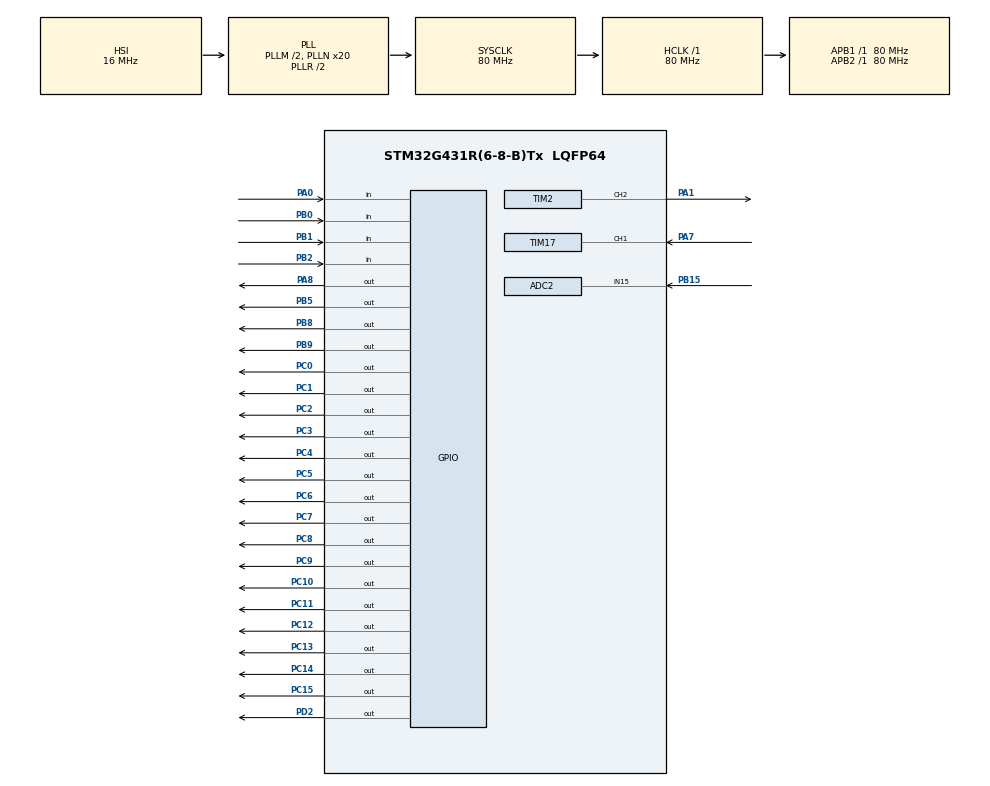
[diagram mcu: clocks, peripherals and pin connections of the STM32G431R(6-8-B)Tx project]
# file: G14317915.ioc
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ADC2.Channel-0\#ChannelRegularConversion=ADC_CHANNEL_15
ADC2.NbrOfConversionFlag=1
ADC2.OffsetNumber-0\#ChannelRegularConversion=ADC_OFFSET_NONE
ADC2.Rank-0\#ChannelRegularConversion=1
ADC2.SamplingTime-0\#ChannelRegularConversion=ADC_SAMPLETIME_640CYCLES_5
Mcu.Family=STM32G4
Mcu.Name=STM32G431R(6-8-B)Tx
Mcu.Package=LQFP64
NVIC.PriorityGroup=NVIC_PRIORITYGROUP_4
NVIC.TIM1_TRG_COM_TIM17_IRQn=true\:0\:0\:false\:false\:true\:true\:true
PA0.Signal=GPIO_Input
PA1.Signal=S_TIM2_CH2
PA7.Signal=S_TIM17_CH1
PA8.Signal=GPIO_Output
PB0.Signal=GPIO_Input
PB1.Signal=GPIO_Input
PB15.Mode=IN15-Single-Ended
PB15.Signal=ADC2_IN15
PB2.Signal=GPIO_Input
PB5.Signal=GPIO_Output
PB8-BOOT0.Signal=GPIO_Output
PB9.Signal=GPIO_Output
PC0.Signal=GPIO_Output
PC1.Signal=GPIO_Output
PC10.Signal=GPIO_Output
PC11.Signal=GPIO_Output
PC12.Signal=GPIO_Output
PC13.Signal=GPIO_Output
PC14-OSC32_IN.Signal=GPIO_Output
PC15-OSC32_OUT.Signal=GPIO_Output
PC2.Signal=GPIO_Output
PC3.Signal=GPIO_Output
PC4.Signal=GPIO_Output
PC5.Signal=GPIO_Output
PC6.Signal=GPIO_Output
PC7.Signal=GPIO_Output
PC8.Signal=GPIO_Output
PC9.Signal=GPIO_Output
PD2.Signal=GPIO_Output
PF0-OSC_IN.Mode=HSE-External-Oscillator
PF0-OSC_IN.Signal=RCC_OSC_IN
PF1-OSC_OUT.Mode=HSE-External-Oscillator
PF1-OSC_OUT.Signal=RCC_OSC_OUT
ProjectManager.HeapSize=0x200
ProjectManager.StackSize=0x400
ProjectManager.TargetToolchain=MDK-ARM V5
RCC.ADC12Freq_Value=80000000
RCC.AHBFreq_Value=80000000
RCC.APB1Freq_Value=80000000
RCC.APB1TimFreq_Value=80000000
RCC.APB2Freq_Value=80000000
RCC.APB2TimFreq_Value=80000000
RCC.CortexFreq_Value=80000000
RCC.EXTERNAL_CLOCK_VALUE=12288000
RCC.HCLKFreq_Value=80000000
RCC.HSE_VALUE=24000000
RCC.HSI48_VALUE=48000000
RCC.HSI_VALUE=16000000
RCC.LSE_VALUE=32768
RCC.PLLM=RCC_PLLM_DIV2
RCC.PLLN=20
RCC.SYSCLKFreq_VALUE=80000000
RCC.SYSCLKSource=RCC_SYSCLKSOURCE_PLLCLK
RCC.USBFreq_Value=80000000
RCC.VCOOutputFreq_Value=160000000
SH.S_TIM17_CH1.0=TIM17_CH1,Input_Capture1_from_TI1
SH.S_TIM2_CH2.0=TIM2_CH2,PWM Generation2 CH2
TIM17.Channel=TIM_CHANNEL_1
TIM17.PeriodNoDither=0xffff
TIM17.Prescaler=79
TIM2.AutoReloadPreload=TIM_AUTORELOAD_PRELOAD_ENABLE
TIM2.Channel-PWM\ Generation2\ CH2=TIM_CHANNEL_2
TIM2.PeriodNoDither=999
TIM2.Prescaler=79
TIM2.PulseNoDither_2=100
VP_SYS_VS_DBSignals.Mode=DisableDeadBatterySignals
VP_TIM17_VS_ClockSourceINT.Mode=Enable_Timer
board=custom

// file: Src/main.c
/* USER CODE BEGIN Header */
/**
  ******************************************************************************
  * @file           : main.c
  * @brief          : Main program body
  ******************************************************************************
  * @attention
  *
  * <h2><center>&copy; Copyright (c) 2021 STMicroelectronics.
  * All rights reserved.</center></h2>
  *
  * This software component is licensed by ST under BSD 3-Clause license,
  * the "License"; You may not use this file except in compliance with the
  * License. You may obtain a copy of the License at:
  *                        opensource.org/licenses/BSD-3-Clause
  *
  ******************************************************************************
  */
/* USER CODE END Header */

#include "main.h"
#include "adc.h"
#include "tim.h"
#include "gpio.h"

/* USER CODE BEGIN Includes */
#include "lcd.h"
#include "led.h"
#include "key.h"
#include "stdio.h"
#include "math.h"
/* USER CODE END Includes */

void SystemClock_Config(void);

/* USER CODE BEGIN 0 */
#define Display_DATA 0
#define Display_PARA 1
#define Display_RECD 2

u8 Display_Mode = 0;
//1
u8 M_set = 0;//0为低频
u32 f_low = 4000,f_high = 8000;
u32 f_set = 4000;
u32 Pwm_cnt = 0;
float PA1_Dset = 10.0;
//2
u8 R_Set = 1,K_Set = 1;//退出界面有效
u8 R_Real = 1,K_Real = 1;
u8 RK_Chose = 0;
float v_temp = 0.0;
float v_wait = 0.0;
u8 v_flag = 0;
//3
float v_high = 0;
float v_low = 0;
u32 v_cnt = 0;
u32 N_Cnt = 0;
//Cont_Key
u8 D_Clk = 0;
u8 Cont_Flag = 0;

//KEY
uint32_t keyTick = 0;
extern u32 Key_Cnt;
void Key_Process(void)
{
	if(uwTick - keyTick <20) return;
	keyTick = uwTick;
	Key_Read();

	if(Trg & 0x01)
	{
		LCD_Clear(Black);
		Display_Mode = (Display_Mode +1)%3;

		if(Display_Mode == Display_PARA )
		{
			R_Real = R_Set;
			K_Real = K_Set;
		}

		RK_Chose = 0;
	}
	if(Trg & 0x02)
	{
		if(Display_Mode == Display_DATA )
		{
			Pwm_cnt = 0;
			N_Cnt++;
			if(f_set == 4000||f_set == 8000)
			M_set =(M_set +1)%2;
		}
		if(Display_Mode == Display_PARA )
		{
			RK_Chose = (RK_Chose +1)%2;
		}
	}
	if(Trg & 0x04)
	{

		if(Display_Mode == Display_PARA )
		{
			if(RK_Chose == 0)
			{
				R_Set++;
				if(R_Set == 11)
					R_Set = 1;
			}
			if(RK_Chose == 1)
			{
				K_Set++;
			  if(K_Set == 11)
					K_Set = 1;
			}
		}
	}
	if(Trg & 0x08)
	{
		if(D_Clk == 1)
		{
			D_Clk = 0;
			Key_Cnt = 0;
		}

		if(Display_Mode == Display_PARA )
		{
			if(RK_Chose == 0)
			{
				R_Set--;
				if(R_Set == 0)
					R_Set = 10;
			}
			if(RK_Chose == 1)
			{
				K_Set--;
			  if(K_Set == 0)
					K_Set = 10;
			}
		}

	}

	if(Cont & 0x08)
	{
		if(Display_Mode == Display_DATA)
			Cont_Flag = 1;
	}

}

//ADC
u32 adc2_val;
float r37_volt;
void ADC_Process(void)
{
	//R37
	HAL_ADC_Start(&hadc2);
	adc2_val = HAL_ADC_GetValue(&hadc2);
	r37_volt = adc2_val /4095.0f*3.3f;

	if(D_Clk == 0)
	{
			if(r37_volt <1)
		{
			PA1_Dset = 10.0;
		}else if(r37_volt >3)
		{
			PA1_Dset = 85.0;
		}
		else
		{
			PA1_Dset  = 37.5f*r37_volt -27.5f;
		}
	}

}

//PWM_OUT
void PWM_Process(void)
{

	TIM2 ->ARR = (1e6*1.0/f_set-1);

	TIM2 ->CCR2 = (TIM2->ARR +1)*PA1_Dset/100.0f;
}

//PWM_IC

u8 tim17_state = 0;
u32 tim17_cnt,tim17_cntu;
u32 f_PA7;
float d_PA7;

void HAL_TIM_IC_CaptureCallback(TIM_HandleTypeDef *htim)
{
	if(htim == &htim17)
	{
		if(tim17_state == 0)
		{
			__HAL_TIM_SetCounter (&htim17,0);
			TIM17 ->CCER |=0x02;
			tim17_state = 1;
		}
		else if(tim17_state == 1)
		{
			tim17_cntu = __HAL_TIM_GetCounter (&htim17);
			TIM17->CCER &=~0x02;
			tim17_state = 2;
		}
		else if(tim17_state == 2)
		{
			tim17_cnt = __HAL_TIM_GetCounter(&htim17);
			tim17_state = 0;
			__HAL_TIM_SetCounter (&htim17,0);
			f_PA7 = 1e6/tim17_cnt;
			d_PA7 = tim17_cntu*100.0f/tim17_cnt;

			v_temp = (f_PA7*3.14f*2*R_Real)/(100.0f*K_Real);

			if(M_set == 0)
			{
				if(v_flag == 0)
				{
						if((v_temp - v_low)>= 0.1f)
					{

						v_wait = v_temp;
						v_flag = 1;
						v_cnt = 0;
					}
				}

			}else if(M_set == 1)
			{
				if(v_flag == 0)
				{
						if((v_temp - v_high)>=0.1f)
					{

						v_wait = v_temp;
						v_flag = 1;
						v_cnt = 0;
					}
				}
			}

		}
		HAL_TIM_IC_Start(&htim17,TIM_CHANNEL_1);
	}

}
//TIME

u32 Key_Cnt = 0;

u8 led2_flag = 0;
u32 led2_cnt = 0;
_Bool blink = 0;
u8 led_ct = 0x00;

float v_tt = 0;
void SysTick_Handler(void)
{
  /* USER CODE BEGIN SysTick_IRQn 0 */

  /* USER CODE END SysTick_IRQn 0 */
  HAL_IncTick();
  /* USER CODE BEGIN SysTick_IRQn 1 */

	if(M_set == 1)
	{
		Pwm_cnt++;
		if(Pwm_cnt == 200)
		{
			Pwm_cnt = 0;
			if(f_set <8000)
			f_set +=160;
		}
	}else if(M_set == 0)
	{
		Pwm_cnt++;
		if(Pwm_cnt == 200)
		{
			Pwm_cnt = 0;
			if(f_set >4000)
			f_set -=160;
		}
	}

	//V
	if(v_flag == 1)
	{
		v_cnt++;
		if(v_cnt == 2000)
		{
			v_cnt = 0;
			v_flag = 0;

			v_tt  =fabs(v_wait - v_temp );
			if(fabs(v_wait - v_temp)<2.0)
			{
				if(M_set == 0)
				v_low = v_wait;
				if(M_set == 1)
				v_high = v_wait;
			}
		}
	}
	//KEY
	if(Cont_Flag == 1)
	{
		Key_Cnt ++;
		if(Key_Cnt  == 2000)
		{
			Key_Cnt = 0;
			Cont_Flag = 0;
			if(Cont & 0x08)
			{
				D_Clk = 1;
			}
		}
	}
	//LED
	if(led2_flag == 1)
	{
		led2_cnt++;
		if(led2_cnt == 100)
		{
			led2_cnt = 0;
			if(blink == 0)
				led_ct|= 0x02;
			else
				led_ct &= ~0x02;
			blink = !blink;
		}
	}
  /* USER CODE END SysTick_IRQn 1 */
}

//LED

//uint32_t ledTick = 0;
void LED_Process(void)
{
//	if(uwTick - ledTick < 100) return;
//	ledTick = uwTick;

	if(f_set>4000&&f_set<8000)
	{
		led2_flag = 1;
	}

	else if(f_set == 4000||f_set == 8000)
	{
		led2_flag = 0;
		led2_cnt = 0;
		blink = 0;
		led_ct &= ~0x02;
	}

	if(Display_Mode == Display_DATA)
		led_ct |= 0x01;
	else
		led_ct &= ~0x01;

	if(D_Clk == 1)
		led_ct |= 0x04;
	else
		led_ct &= ~0x04;

	Led_Control(led_ct);
}

//LCD
void LCD_Process(void)
{
	u8 Display_Buf[30];

	if(Display_Mode == Display_DATA )
	{
		sprintf((char*)Display_Buf,"        DATA       ");
	  LCD_DisplayStringLine(Line1,Display_Buf);

		if(M_set == 0&&f_set == 4000)
		{
			sprintf((char*)Display_Buf,"     M=L    ");
	    LCD_DisplayStringLine(Line3,Display_Buf);

		}else if(M_set == 1&&f_set == 8000)
		{
			sprintf((char*)Display_Buf,"     M=H    ");
	    LCD_DisplayStringLine(Line3,Display_Buf);
		}

		sprintf((char*)Display_Buf,"     P=%2.0f%%     ",PA1_Dset*1.0f);
	  LCD_DisplayStringLine(Line4,Display_Buf);

		sprintf((char*)Display_Buf,"     V=%-13.1f        ",v_temp);
	  LCD_DisplayStringLine(Line5,Display_Buf);

	}

	if(Display_Mode == Display_PARA )
	{
		sprintf((char*)Display_Buf,"        PARA       ");
	  LCD_DisplayStringLine(Line1,Display_Buf);

		sprintf((char*)Display_Buf,"     R=%d     ",R_Set);
	  LCD_DisplayStringLine(Line3,Display_Buf);

		sprintf((char*)Display_Buf,"     K=%d      ",K_Set);
	  LCD_DisplayStringLine(Line4,Display_Buf);
	}

	if(Display_Mode == Display_RECD )
		{
			sprintf((char*)Display_Buf,"        RECD       ");
			LCD_DisplayStringLine(Line1,Display_Buf);

			sprintf((char*)Display_Buf,"     N=%-d         ",N_Cnt);
			LCD_DisplayStringLine(Line3,Display_Buf);

			sprintf((char*)Display_Buf,"     MH=%-5.1f       ",v_high);
			LCD_DisplayStringLine(Line4,Display_Buf);

			sprintf((char*)Display_Buf,"     ML=%-5.1f       ",v_low);
			LCD_DisplayStringLine(Line5,Display_Buf);
		}
}

/* USER CODE END 0 */

int main(void)
{

  /* MCU Configuration--------------------------------------------------------*/

  /* Reset of all peripherals, Initializes the Flash interface and the Systick. */
  HAL_Init();

  /* Configure the system clock */
  SystemClock_Config();

  /* Initialize all configured peripherals */
  MX_GPIO_Init();
  MX_ADC2_Init();
  MX_TIM2_Init();
  MX_TIM17_Init();
  /* USER CODE BEGIN 2 */

	LCD_Init();
	//PWM_OUT
	HAL_TIM_PWM_Start(&htim2,TIM_CHANNEL_2);

	//PWM_IC
	HAL_TIM_IC_Start_IT(&htim17,TIM_CHANNEL_1);
  /* USER CODE END 2 */

  /* Infinite loop */
  /* USER CODE BEGIN WHILE */

	LCD_Clear(Black);
	LCD_SetBackColor(Black);
	LCD_SetTextColor(White);

//	LCD_DisplayStringLine(Line0, (uint8_t *)"                    ");
//	LCD_DisplayStringLine(Line1, (uint8_t *)"                    ");
//	LCD_DisplayStringLine(Line2, (uint8_t *)"      LCD Test      ");
//	LCD_DisplayStringLine(Line3, (uint8_t *)"                    ");
//	LCD_DisplayStringLine(Line4, (uint8_t *)"                    ");
//
//	LCD_SetBackColor(White);
//	LCD_SetTextColor(Blue);

//	LCD_DisplayStringLine(Line5, (uint8_t *)"                    ");
//	LCD_DisplayStringLine(Line6, (uint8_t *)"       HAL LIB      ");
//	LCD_DisplayStringLine(Line7, (uint8_t *)"                    ");
//	LCD_DisplayStringLine(Line8, (uint8_t *)"         @80        ");
//	LCD_DisplayStringLine(Line9, (uint8_t *)"                    ");
	///
	Led_Control(0x00);
  while (1)
  {
    /* USER CODE END WHILE */

    /* USER CODE BEGIN 3 */
		PWM_Process();
		ADC_Process();
		LED_Process();
		Key_Process();
		LCD_Process();
  }
  /* USER CODE END 3 */
}

void SystemClock_Config(void)
{
  RCC_OscInitTypeDef RCC_OscInitStruct = {0};
  RCC_ClkInitTypeDef RCC_ClkInitStruct = {0};
  RCC_PeriphCLKInitTypeDef PeriphClkInit = {0};

  /** Configure the main internal regulator output voltage
  */
  HAL_PWREx_ControlVoltageScaling(PWR_REGULATOR_VOLTAGE_SCALE1);
  /** Initializes the CPU, AHB and APB busses clocks
  */
  RCC_OscInitStruct.OscillatorType = RCC_OSCILLATORTYPE_HSI;
  RCC_OscInitStruct.HSIState = RCC_HSI_ON;
  RCC_OscInitStruct.HSICalibrationValue = RCC_HSICALIBRATION_DEFAULT;
  RCC_OscInitStruct.PLL.PLLState = RCC_PLL_ON;
  RCC_OscInitStruct.PLL.PLLSource = RCC_PLLSOURCE_HSI;
  RCC_OscInitStruct.PLL.PLLM = RCC_PLLM_DIV2;
  RCC_OscInitStruct.PLL.PLLN = 20;
  RCC_OscInitStruct.PLL.PLLP = RCC_PLLP_DIV2;
  RCC_OscInitStruct.PLL.PLLQ = RCC_PLLQ_DIV2;
  RCC_OscInitStruct.PLL.PLLR = RCC_PLLR_DIV2;
  if (HAL_RCC_OscConfig(&RCC_OscInitStruct) != HAL_OK)
  {
    Error_Handler();
  }
  /** Initializes the CPU, AHB and APB busses clocks
  */
  RCC_ClkInitStruct.ClockType = RCC_CLOCKTYPE_HCLK|RCC_CLOCKTYPE_SYSCLK
                              |RCC_CLOCKTYPE_PCLK1|RCC_CLOCKTYPE_PCLK2;
  RCC_ClkInitStruct.SYSCLKSource = RCC_SYSCLKSOURCE_PLLCLK;
  RCC_ClkInitStruct.AHBCLKDivider = RCC_SYSCLK_DIV1;
  RCC_ClkInitStruct.APB1CLKDivider = RCC_HCLK_DIV1;
  RCC_ClkInitStruct.APB2CLKDivider = RCC_HCLK_DIV1;

  if (HAL_RCC_ClockConfig(&RCC_ClkInitStruct, FLASH_LATENCY_3) != HAL_OK)
  {
    Error_Handler();
  }
  /** Initializes the peripherals clocks
  */
  PeriphClkInit.PeriphClockSelection = RCC_PERIPHCLK_ADC12;
  PeriphClkInit.Adc12ClockSelection = RCC_ADC12CLKSOURCE_SYSCLK;
  if (HAL_RCCEx_PeriphCLKConfig(&PeriphClkInit) != HAL_OK)
  {
    Error_Handler();
  }
}

void Error_Handler(void)
{
}

/************************ (C) COPYRIGHT STMicroelectronics *****END OF FILE****/
